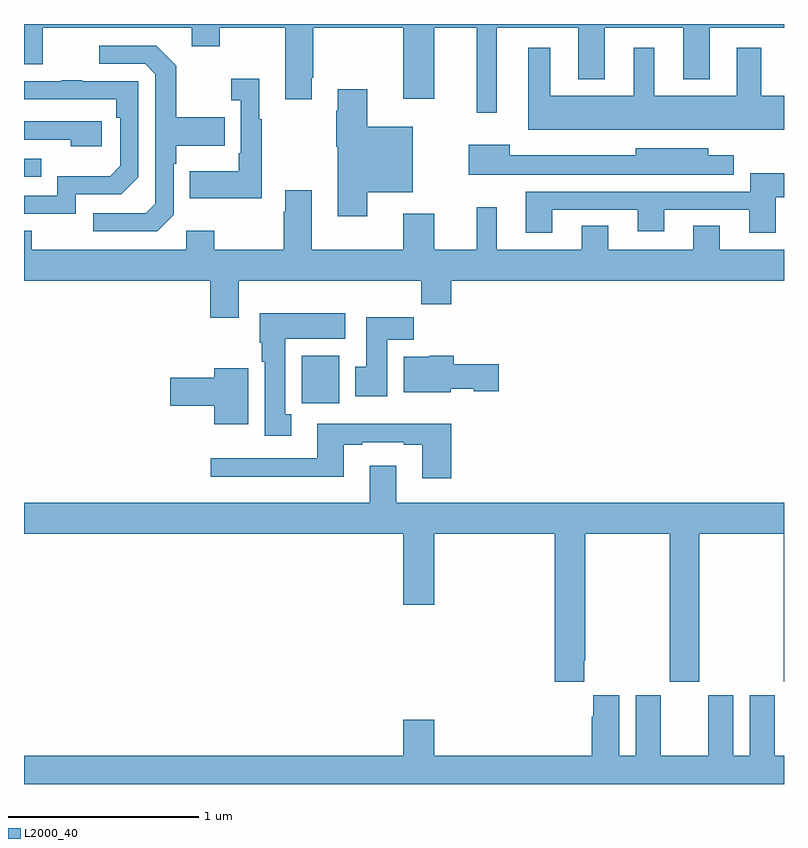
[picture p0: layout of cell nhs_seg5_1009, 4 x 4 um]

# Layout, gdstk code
import gdstk
lib = gdstk.Library(unit=1e-6, precision=1e-09)
def R(c, l, rs):  # rectangles x0, y0, x1, y1
    for r in rs: c.add(gdstk.rectangle(r[:2], r[2:], *l))
def P(c, l, *ps):  # polygons
    for p in ps: c.add(gdstk.Polygon(p, *l))
L2000_40 = (2000, 40)

nhs_seg5_1009 = lib.new_cell('nhs_seg5_1009')
R(nhs_seg5_1009, L2000_40, [(176.463,834.804,176.659,835.054), (175,835.995,175.091,836.091)])
P(nhs_seg5_1009, L2000_40, [(177.487,836.78),(177.917,836.78),(177.917,836.507),(178.057,836.507),(178.057,836.78),(178.469,836.78),(178.469,836.507),(178.609,836.507),(178.609,836.78),(179,836.78),(179,836.799),(175,836.799),(175,836.586),(175.099,836.586),(175.099,836.78),(175.883,836.78),(175.883,836.681),(176.031,836.681),(176.031,836.78),(176.375,836.78),(176.375,836.403),(176.515,836.403),(176.515,836.515),(176.523,836.515),(176.523,836.78),(176.996,836.78),(176.996,836.406),(177.16,836.406),(177.16,836.78),(177.383,836.78),(177.383,836.331),(177.487,836.331)],
  [(175.788,835.794),(175.788,836.063),(175.801,836.063),(175.801,836.159),(176.057,836.159),(176.057,836.307),(175.801,836.307),(175.801,836.579),(175.695,836.685),(175.395,836.685),(175.395,836.589),(175.638,836.589),(175.692,836.535),(175.692,835.854),(175.641,835.803),(175.365,835.803),(175.365,835.707),(175.701,835.707)],
  [(179,836.422),(178.879,836.422),(178.879,836.674),(178.751,836.674),(178.751,836.422),(178.318,836.422),(178.318,836.674),(178.208,836.674),(178.208,836.422),(177.769,836.422),(177.769,836.674),(177.653,836.674),(177.653,836.243),(179,836.243)],
  [(176.251,836.299),(176.239,836.299),(176.239,836.512),(176.091,836.512),(176.091,836.399),(176.142,836.399),(176.142,836.119),(176.13,836.119),(176.13,836.023),(175.873,836.023),(175.873,835.883),(176.251,835.883)],
  [(175.272,835.902),(175.512,835.902),(175.602,835.992),(175.602,836.499),(175.307,836.499),(175.307,836.504),(175.195,836.504),(175.195,836.499),(175,836.499),(175,836.403),(175.486,836.403),(175.486,836.306),(175.506,836.306),(175.506,836.052),(175.453,835.999),(175.176,835.999),(175.176,835.896),(175,835.896),(175,835.8),(175.272,835.8)],
  [(176.806,835.913),(177.046,835.913),(177.046,836.257),(176.806,836.257),(176.806,836.455),(176.651,836.455),(176.651,836.342),(176.644,836.342),(176.644,836.153),(176.651,836.153),(176.651,835.788),(176.806,835.788)],
  [(175.408,836.286),(175,836.286),(175,836.19),(175.247,836.19),(175.247,836.156),(175.408,836.156)],
  [(178.735,836.107),(178.6,836.107),(178.6,836.146),(178.22,836.146),(178.22,836.107),(177.556,836.107),(177.556,836.164),(177.342,836.164),(177.342,836.006),(178.735,836.006)],
  [(177.781,835.821),(178.229,835.821),(178.229,835.709),(178.369,835.709),(178.369,835.821),(178.817,835.821),(178.817,835.701),(178.957,835.701),(178.957,835.886),(179,835.886),(179,836.014),(178.823,836.014),(178.823,835.917),(177.641,835.917),(177.641,835.701),(177.781,835.701)],
  [(176.131,835.448),(177.091,835.448),(177.091,835.324),(177.248,835.324),(177.248,835.448),(179,835.448),(179,835.612),(178.663,835.612),(178.663,835.736),(178.523,835.736),(178.523,835.612),(178.075,835.612),(178.075,835.736),(177.935,835.736),(177.935,835.612),(177.487,835.612),(177.487,835.834),(177.383,835.834),(177.383,835.612),(177.16,835.612),(177.16,835.801),(176.996,835.801),(176.996,835.612),(176.515,835.612),(176.515,835.924),(176.375,835.924),(176.375,835.811),(176.368,835.811),(176.368,835.612),(176.001,835.612),(176.001,835.711),(175.854,835.711),(175.854,835.612),(175.041,835.612),(175.041,835.711),(175,835.711),(175,835.448),(175.979,835.448),(175.979,835.254),(176.131,835.254)],
  [(176.407,834.745),(176.374,834.745),(176.374,835.142),(176.692,835.142),(176.692,835.276),(176.24,835.276),(176.24,835.122),(176.252,835.122),(176.252,835.022),(176.267,835.022),(176.267,834.633),(176.407,834.633)],
  [(176.911,835.136),(177.05,835.136),(177.05,835.255),(176.801,835.255),(176.801,834.996),(176.744,834.996),(176.744,834.84),(176.911,834.84)],
  [(177.246,834.878),(177.366,834.878),(177.366,834.866),(177.499,834.866),(177.499,835.008),(177.263,835.008),(177.263,835.054),(177.132,835.054),(177.132,835.048),(176.999,835.048),(176.999,834.86),(177.246,834.86)],
  [(176.179,834.988),(176,834.988),(176,834.938),(175.77,834.938),(175.77,834.791),(176,834.791),(176,834.692),(176.179,834.692)],
  [(177.248,834.694),(176.543,834.694),(176.543,834.513),(175.983,834.513),(175.983,834.416),(176.683,834.416),(176.683,834.585),(176.779,834.585),(176.779,834.597),(176.999,834.597),(176.999,834.585),(177.095,834.585),(177.095,834.408),(177.248,834.408)],
  [(177.949,833.449),(177.954,833.449),(177.954,834.116),(178.399,834.116),(178.399,833.337),(178.554,833.337),(178.554,834.116),(178.999,834.116),(178.999,833.337),(179,833.337),(179,834.28),(176.959,834.28),(176.959,834.475),(176.819,834.475),(176.819,834.28),(175,834.28),(175,834.116),(176.996,834.116),(176.996,833.742),(177.16,833.742),(177.16,834.116),(177.794,834.116),(177.794,833.337),(177.949,833.337)],
  [(179,832.948),(178.951,832.948),(178.951,833.266),(178.82,833.266),(178.82,832.948),(178.732,832.948),(178.732,833.266),(178.601,833.266),(178.601,832.948),(178.351,832.948),(178.351,833.266),(178.22,833.266),(178.22,832.948),(178.132,832.948),(178.132,833.266),(177.995,833.266),(177.995,833.153),(177.989,833.153),(177.989,832.948),(177.16,832.948),(177.16,833.137),(176.996,833.137),(176.996,832.948),(175,832.948),(175,832.799),(179,832.799)])

lib.write_gds('nhs_seg5_1009.gds')
